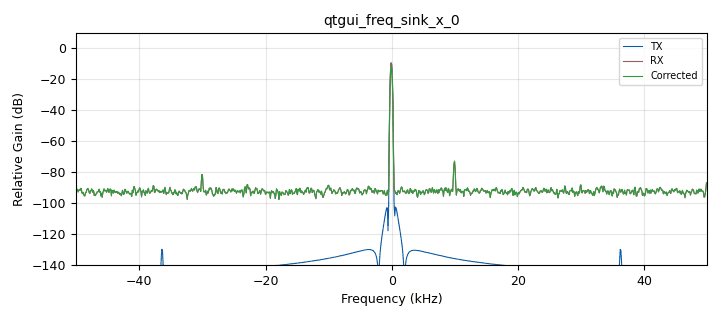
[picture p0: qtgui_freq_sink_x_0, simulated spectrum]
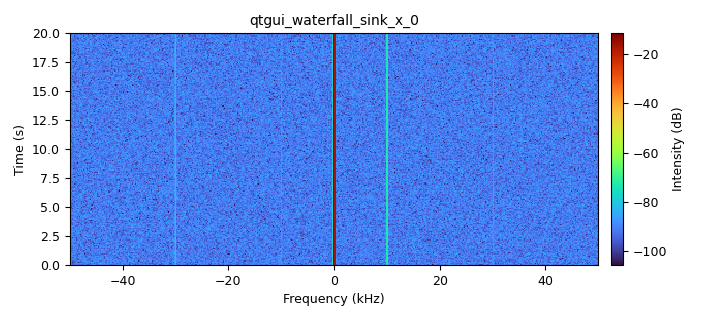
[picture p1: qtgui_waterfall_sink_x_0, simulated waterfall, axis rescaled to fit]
options:
  parameters:
    author: ebaum
    generate_options: qt_gui
    id: top_block
    output_language: python
    title: Not titled yet
  states: {}

blocks:
- name: backscatter_freq
  id: variable
  parameters:
    value: 10e3
  states: {}
- name: carrier_freq
  id: variable
  parameters:
    value: 915e6
  states: {}
- name: do_backscatter
  id: variable_qtgui_check_box
  parameters:
    'false': '0'
    'true': '1'
    type: int
    value: 'True'
  states: {}
- name: phase_adj
  id: variable_qtgui_range
  parameters:
    gui_hint: 1,2
    label: Phase Adj (samps)
    orient: Qt.Horizontal
    start: '0'
    step: '1'
    stop: '32'
    value: '5'
  states: {}
- name: rx_mag
  id: variable_qtgui_range
  parameters:
    gui_hint: 1,1
    label: Receive Mag
    orient: Qt.Horizontal
    start: '0'
    step: '0.01'
    stop: '2'
    value: '1.01'
  states: {}
- name: samp_rate
  id: variable
  parameters:
    value: 100e3
  states: {}
- name: analog_sig_source_x_0
  id: analog_sig_source_x
  parameters:
    amp: '1'
    comment: illuminator
    freq: carrier_freq
    offset: '0'
    phase: '0'
    samp_rate: samp_rate
    type: complex
    waveform: analog.GR_COS_WAVE
  states: {}
- name: analog_sig_source_x_1
  id: analog_sig_source_x
  parameters:
    amp: do_backscatter * 1e-3
    comment: backscatter source
    freq: backscatter_freq
    offset: '0'
    phase: '0'
    samp_rate: samp_rate
    type: complex
    waveform: analog.GR_SQR_WAVE
  states: {}
- name: blocks_add_xx_0
  id: blocks_add_xx
  parameters:
    type: complex
  states: {}
- name: blocks_add_xx_1
  id: blocks_add_xx
  parameters:
    type: complex
  states: {}
- name: blocks_delay_0
  id: blocks_delay
  parameters:
    delay: '2'
    type: complex
  states: {}
- name: blocks_delay_0_0
  id: blocks_delay
  parameters:
    delay: '2'
    type: complex
  states: {}
- name: blocks_delay_1
  id: blocks_delay
  parameters:
    delay: phase_adj
    type: complex
  states: {}
- name: blocks_multiply_const_vxx_0
  id: blocks_multiply_const_vxx
  parameters:
    const: '-rx_mag'
    type: complex
  states: {}
- name: blocks_multiply_xx_0
  id: blocks_multiply_xx
  parameters:
    type: complex
  states: {}
- name: blocks_throttle_0
  id: blocks_throttle
  parameters:
    samples_per_second: samp_rate
    type: complex
  states: {}
- name: channels_channel_model_0
  id: channels_channel_model
  parameters:
    comment: TX/RX channel model
    epsilon: '1.0'
    freq_offset: '0.0'
    noise_voltage: '1e-3'
    seed: '0'
    taps: 0.7+0.7j
  states: {}
- name: channels_channel_model_0_0
  id: channels_channel_model
  parameters:
    comment: backscatter channel model
    epsilon: '1.0'
    freq_offset: '0.0'
    noise_voltage: '1e-3'
    seed: '0'
    taps: 0.7+0.7j
  states: {}
- name: note_1
  id: note
  parameters:
    note: RECEIVER
  states: {}
- name: note_2
  id: note
  parameters:
    note: TRANSMITTER
  states: {}
- name: note_3
  id: note
  parameters:
    note: BACKSCATTER
  states: {}
- name: qtgui_freq_sink_x_0
  id: qtgui_freq_sink_x
  parameters:
    average: '0.05'
    bw: samp_rate
    ctrlpanel: 'True'
    fc: '0'
    fftsize: '1024'
    label1: '''TX'''
    label2: '''RX'''
    label3: '''Corrected'''
    nconnections: '3'
    type: complex
    wintype: firdes.WIN_BLACKMAN_hARRIS
  states: {}
- name: qtgui_time_sink_x_0
  id: qtgui_time_sink_x
  parameters:
    ctrlpanel: 'True'
    label1: Transmit Re
    label2: Transmit Im
    label3: Corrected Re
    label4: Corrected Im
    nconnections: '2'
    size: '128'
    srate: samp_rate
    type: complex
  states: {state: disabled}
- name: qtgui_waterfall_sink_x_0
  id: qtgui_waterfall_sink_x
  parameters:
    bw: samp_rate
    fc: '0'
    fftsize: '2048'
    int_max: '-70'
    int_min: '-110'
    type: complex
    wintype: firdes.WIN_BLACKMAN_hARRIS
  states: {}
- name: virtual_sink_0
  id: virtual_sink
  parameters:
    stream_id: TX
  states: {}
- name: virtual_sink_1
  id: virtual_sink
  parameters:
    stream_id: RX
  states: {}
- name: virtual_source_0
  id: virtual_source
  parameters:
    stream_id: TX
  states: {}
- name: virtual_source_1
  id: virtual_source
  parameters:
    stream_id: RX
  states: {}
- name: virtual_source_2
  id: virtual_source
  parameters:
    stream_id: TX
  states: {}

connections:
- [analog_sig_source_x_0, '0', blocks_delay_0, '0']
- [analog_sig_source_x_0, '0', blocks_throttle_0, '0']
- [analog_sig_source_x_1, '0', blocks_multiply_xx_0, '1']
- [blocks_add_xx_0, '0', qtgui_freq_sink_x_0, '2']
- [blocks_add_xx_0, '0', qtgui_time_sink_x_0, '1']
- [blocks_add_xx_0, '0', qtgui_waterfall_sink_x_0, '0']
- [blocks_add_xx_1, '0', virtual_sink_1, '0']
- [blocks_delay_0, '0', blocks_delay_0_0, '0']
- [blocks_delay_0, '0', channels_channel_model_0, '0']
- [blocks_delay_0_0, '0', blocks_multiply_xx_0, '0']
- [blocks_delay_1, '0', blocks_add_xx_0, '1']
- [blocks_multiply_const_vxx_0, '0', blocks_delay_1, '0']
- [blocks_multiply_xx_0, '0', channels_channel_model_0_0, '0']
- [blocks_throttle_0, '0', virtual_sink_0, '0']
- [channels_channel_model_0, '0', blocks_add_xx_1, '0']
- [channels_channel_model_0_0, '0', blocks_add_xx_1, '1']
- [virtual_source_0, '0', blocks_add_xx_0, '0']
- [virtual_source_0, '0', qtgui_time_sink_x_0, '0']
- [virtual_source_1, '0', blocks_multiply_const_vxx_0, '0']
- [virtual_source_1, '0', qtgui_freq_sink_x_0, '1']
- [virtual_source_2, '0', qtgui_freq_sink_x_0, '0']

metadata:
  file_format: 1
